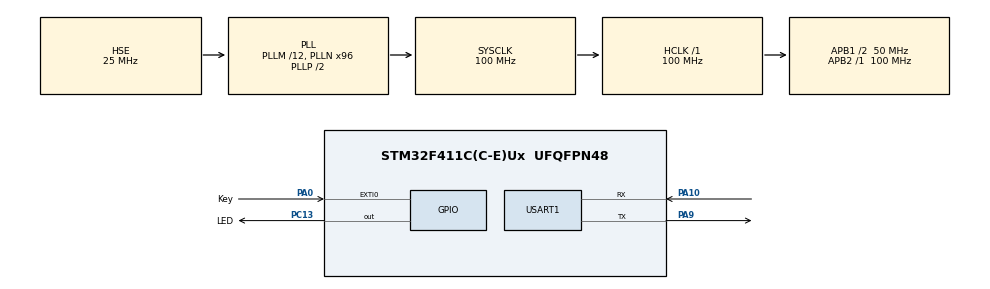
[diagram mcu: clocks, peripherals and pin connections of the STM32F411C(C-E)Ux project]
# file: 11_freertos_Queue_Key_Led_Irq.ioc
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FREERTOS.Tasks01=defaultTask,24,128,StartDefaultTask,Default,NULL,Dynamic,NULL,NULL
Mcu.Family=STM32F4
Mcu.Name=STM32F411C(C-E)Ux
Mcu.Package=UFQFPN48
NVIC.EXTI0_IRQn=true\:5\:0\:false\:false\:true\:true\:true\:true\:true
NVIC.PriorityGroup=NVIC_PRIORITYGROUP_4
NVIC.TIM1_UP_TIM10_IRQn=true\:15\:0\:false\:false\:true\:false\:false\:true\:true
NVIC.TimeBase=TIM1_UP_TIM10_IRQn
NVIC.TimeBaseIP=TIM1
PA0-WKUP.GPIO_Label=Key
PA0-WKUP.GPIO_ModeDefaultEXTI=GPIO_MODE_IT_FALLING
PA0-WKUP.GPIO_PuPd=GPIO_PULLUP
PA0-WKUP.Signal=GPXTI0
PA10.Mode=Asynchronous
PA10.Signal=USART1_RX
PA13.Mode=Serial_Wire
PA13.Signal=SYS_JTMS-SWDIO
PA14.Mode=Serial_Wire
PA14.Signal=SYS_JTCK-SWCLK
PA9.Mode=Asynchronous
PA9.Signal=USART1_TX
PC13-ANTI_TAMP.GPIO_Label=LED
PC13-ANTI_TAMP.PinState=GPIO_PIN_SET
PC13-ANTI_TAMP.Signal=GPIO_Output
PC14-OSC32_IN.Mode=LSE-External-Oscillator
PC14-OSC32_IN.Signal=RCC_OSC32_IN
PC15-OSC32_OUT.Mode=LSE-External-Oscillator
PC15-OSC32_OUT.Signal=RCC_OSC32_OUT
PH0\ -\ OSC_IN.Mode=HSE-External-Oscillator
PH0\ -\ OSC_IN.Signal=RCC_OSC_IN
PH1\ -\ OSC_OUT.Mode=HSE-External-Oscillator
PH1\ -\ OSC_OUT.Signal=RCC_OSC_OUT
ProjectManager.HeapSize=0x200
ProjectManager.StackSize=0x400
ProjectManager.TargetToolchain=MDK-ARM V5.32
RCC.48MHZClocksFreq_Value=50000000
RCC.AHBFreq_Value=100000000
RCC.APB1CLKDivider=RCC_HCLK_DIV2
RCC.APB1Freq_Value=50000000
RCC.APB1TimFreq_Value=100000000
RCC.APB2Freq_Value=100000000
RCC.APB2TimFreq_Value=100000000
RCC.CortexFreq_Value=100000000
RCC.HCLKFreq_Value=100000000
RCC.HSE_VALUE=25000000
RCC.HSI_VALUE=16000000
RCC.PLLM=12
RCC.PLLN=96
RCC.PLLSourceVirtual=RCC_PLLSOURCE_HSE
RCC.SYSCLKFreq_VALUE=100000000
RCC.SYSCLKSource=RCC_SYSCLKSOURCE_PLLCLK
RCC.VCOOutputFreq_Value=200000000
USART1.VirtualMode=VM_ASYNC
VP_FREERTOS_VS_CMSIS_V2.Mode=CMSIS_V2
VP_SYS_VS_tim1.Mode=TIM1
board=custom

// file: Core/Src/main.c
/* USER CODE BEGIN Header */
/**
  ******************************************************************************
  * @file           : main.c
  * @brief          : Main program body
  ******************************************************************************
  * @attention
  *
  * Copyright (c) 2025 STMicroelectronics.
  * All rights reserved.
  *
  * This software is licensed under terms that can be found in the LICENSE file
  * in the root directory of this software component.
  * If no LICENSE file comes with this software, it is provided AS-IS.
  *
  ******************************************************************************
  */
/* USER CODE END Header */
#include "main.h"
#include "cmsis_os.h"
#include "usart.h"
#include "gpio.h"

/* USER CODE BEGIN Includes */
#include <stdio.h>
/* USER CODE END Includes */

void SystemClock_Config(void);
void MX_FREERTOS_Init(void);

int main(void)
{

  /* MCU Configuration--------------------------------------------------------*/

  /* Reset of all peripherals, Initializes the Flash interface and the Systick. */
  HAL_Init();

  /* Configure the system clock */
  SystemClock_Config();

  /* Initialize all configured peripherals */
  MX_GPIO_Init();
  MX_USART1_UART_Init();

  /* Init scheduler */
  osKernelInitialize();  /* Call init function for freertos objects (in freertos.c) */
  MX_FREERTOS_Init();

  /* Start scheduler */
  osKernelStart();
  /* We should never get here as control is now taken by the scheduler */
  /* Infinite loop */
	while(1)
	{

	}
}

void SystemClock_Config(void)
{
  RCC_OscInitTypeDef RCC_OscInitStruct = {0};
  RCC_ClkInitTypeDef RCC_ClkInitStruct = {0};

  /** Configure the main internal regulator output voltage
  */
  __HAL_RCC_PWR_CLK_ENABLE();
  __HAL_PWR_VOLTAGESCALING_CONFIG(PWR_REGULATOR_VOLTAGE_SCALE1);

  /** Initializes the RCC Oscillators according to the specified parameters
  * in the RCC_OscInitTypeDef structure.
  */
  RCC_OscInitStruct.OscillatorType = RCC_OSCILLATORTYPE_HSE;
  RCC_OscInitStruct.HSEState = RCC_HSE_ON;
  RCC_OscInitStruct.PLL.PLLState = RCC_PLL_ON;
  RCC_OscInitStruct.PLL.PLLSource = RCC_PLLSOURCE_HSE;
  RCC_OscInitStruct.PLL.PLLM = 12;
  RCC_OscInitStruct.PLL.PLLN = 96;
  RCC_OscInitStruct.PLL.PLLP = RCC_PLLP_DIV2;
  RCC_OscInitStruct.PLL.PLLQ = 4;
  if (HAL_RCC_OscConfig(&RCC_OscInitStruct) != HAL_OK)
  {
    Error_Handler();
  }

  /** Initializes the CPU, AHB and APB buses clocks
  */
  RCC_ClkInitStruct.ClockType = RCC_CLOCKTYPE_HCLK|RCC_CLOCKTYPE_SYSCLK
                              |RCC_CLOCKTYPE_PCLK1|RCC_CLOCKTYPE_PCLK2;
  RCC_ClkInitStruct.SYSCLKSource = RCC_SYSCLKSOURCE_PLLCLK;
  RCC_ClkInitStruct.AHBCLKDivider = RCC_SYSCLK_DIV1;
  RCC_ClkInitStruct.APB1CLKDivider = RCC_HCLK_DIV2;
  RCC_ClkInitStruct.APB2CLKDivider = RCC_HCLK_DIV1;

  if (HAL_RCC_ClockConfig(&RCC_ClkInitStruct, FLASH_LATENCY_3) != HAL_OK)
  {
    Error_Handler();
  }
}

void HAL_TIM_PeriodElapsedCallback(TIM_HandleTypeDef *htim)
{
  if (htim->Instance == TIM1) {
    HAL_IncTick();
  }
}

void Error_Handler(void)
{
	__disable_irq();
	while(1)
	{
	}
}

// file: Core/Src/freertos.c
/* USER CODE BEGIN Header */
/**
  ******************************************************************************
  * File Name          : freertos.c
  * Description        : Code for freertos applications
  ******************************************************************************
  * @attention
  *
  * Copyright (c) 2025 STMicroelectronics.
  * All rights reserved.
  *
  * This software is licensed under terms that can be found in the LICENSE file
  * in the root directory of this software component.
  * If no LICENSE file comes with this software, it is provided AS-IS.
  *
  ******************************************************************************
  */
/* USER CODE END Header */

#include "FreeRTOS.h"
#include "task.h"
#include "main.h"
#include "cmsis_os.h"

/* USER CODE BEGIN Includes */
#include "bsp_key_irq.h"
#include "bsp_led.h"
#include "queue.h"
#include <stdio.h>
/* USER CODE END Includes */

/* Definitions for defaultTask */
osThreadId_t         defaultTaskHandle;
const osThreadAttr_t defaultTask_attributes = {
	.name = "defaultTask",
	.stack_size = 128 * 4,
	.priority = (osPriority_t)osPriorityNormal,
};

void StartDefaultTask(void *argument);

void MX_FREERTOS_Init(void); /* (MISRA C 2004 rule 8.1) */

void MX_FREERTOS_Init(void)
{

	/* Create the thread(s) */
	/* creation of defaultTask */
	defaultTaskHandle = osThreadNew(   StartDefaultTask,
											   NULL,
							   &defaultTask_attributes);

	/* USER CODE BEGIN RTOS_THREADS */
	/* add threads, ... */
	key_TaskHandle = osThreadNew(  key_task_func,
										NULL,
						   &key_Task_attributes);
	led_TaskHandle = osThreadNew(  led_task_func,
									    NULL,
						   &led_Task_attributes);
	/* USER CODE END RTOS_THREADS */

}

void StartDefaultTask(void *argument)
{
	/* USER CODE BEGIN StartDefaultTask */
	/******************* APP Task *************************/
	led_operation_t led_ops_event = LED_INITED_VALUE;
	key_press_status_t key_press_event = KEY_NOT_PRESSED;

	osDelay(500);
#if 0  //Test #1 error case fetch.
	key_press_event_t key_press_event =
	{
		.edge_type = KEY_EDGE_RISING,
		.trigger_tick = HAL_GetTick()
	};

	if(NULL == inter_key_queue)
	{
		printf("inter_key_queue not created"
		    		   " at [%d] tick.\r\n",
		    				 HAL_GetTick());
	}

	if(pdTRUE == xQueueSend(inter_key_queue, &key_press_event, 0))
	{
		printf("inter_key_result send RISING event successfully "
		    								"at [%d] tick! \r\n",
		    									  HAL_GetTick());
	}
#endif //Test #1 error case fetch.

#if 0  //Test #2 filtering fetch and short press.
	key_press_event_t key_press_event1 =
	{
		.edge_type = KEY_EDGE_FALLING,
		.trigger_tick = HAL_GetTick()
	};

	if(NULL == inter_key_queue)
	{
		printf("inter_key_queue not created"
		    		   " at [%d] tick.\r\n",
		    				 HAL_GetTick());
	}

	if(pdTRUE == xQueueSend(inter_key_queue, &key_press_event1, 0))
	{
		printf("inter_key_result send FALLING event successfully "
		    								 "at [%d] tick! \r\n",
		    									   HAL_GetTick());
	}

	osDelay(5);

	key_press_event_t key_press_event2 =
	{
		.edge_type = KEY_EDGE_RISING,
		.trigger_tick = HAL_GetTick()
	};

	if(NULL == inter_key_queue)
	{
		printf("inter_key_queue not created"
		    		   " at [%d] tick.\r\n",
		    				 HAL_GetTick());
	}

	if(pdTRUE == xQueueSend(inter_key_queue, &key_press_event2, 0))
	{
		printf("inter_key_result send RISING event successfully "
		    								"at [%d] tick! \r\n",
		    									  HAL_GetTick());
	}
#endif //Test #2 filtering fetch and short press.

#if 0  //Test #3 long press.
	key_press_event_t key_press_event1 =
	{
		.edge_type = KEY_EDGE_FALLING,
		.trigger_tick = HAL_GetTick()
	};

	if(NULL == inter_key_queue)
	{
		printf("inter_key_queue not created"
		    		   " at [%d] tick.\r\n",
		    				 HAL_GetTick());
	}

	if(pdTRUE == xQueueSend(inter_key_queue, &key_press_event1, 0))
	{
		printf("inter_key_result send FALLING event successfully "
		    								 "at [%d] tick! \r\n",
		    									   HAL_GetTick());
	}

	osDelay(600);

	key_press_event_t key_press_event2 =
	{
		.edge_type = KEY_EDGE_RISING,
		.trigger_tick = HAL_GetTick()
	};

	if(NULL == inter_key_queue)
	{
		printf("inter_key_queue not created"
		    		   " at [%d] tick.\r\n",
		    				 HAL_GetTick());
	}

	if(pdTRUE == xQueueSend(inter_key_queue, &key_press_event2, 0))
	{
		printf("inter_key_result send RISING event successfully "
		    								"at [%d] tick! \r\n",
		    									  HAL_GetTick());
	}
#endif //Test #3 long press.

	/* Infinite loop */
	for(;;)
	{
		printf("APP Task is living ...\r\n");
		if(pdTRUE == xQueueReceive(  key_queue,
						  &(key_press_event),
						  (TickType_t)0))
		{
			//1. if the key is pressed with short press.
			if(KEY_SHORT_PRESSED == key_press_event)
			{
				printf("Key Short Pressed! \r\n");
				//1.1 toggle the LED.
				led_ops_event = LED_TOGGLE;
				if(pdTRUE == xQueueSend(led_queue, &led_ops_event, 0))
				{
					printf("led_ops_event send toggle successfully "
					       "at [%d] tick! \r\n",
					       HAL_GetTick());
				}
				else
				{
					printf("led_ops_event send toggle failed "
					       "at [%d] tick! \r\n",
					       HAL_GetTick());
				}
			}
			//2. if the key is pressed with long press.
			else if(KEY_LONG_PRESSED == key_press_event)
			{
				printf("Key Long Pressed! \r\n");
				//2.1 LED blink for 3 times.
				led_ops_event = LED_BLINK_3_TIMES;
				if(pdTRUE == xQueueSend(led_queue, &led_ops_event, 0))
				{
					printf("led_ops_event send blink 3 times successfully "
					       "at [%d] tick! \r\n",
					       HAL_GetTick());
				}
				else
				{
					printf("led_ops_event send blink 3 times failed "
					       "at [%d] tick! \r\n",
					       HAL_GetTick());
				}

			}
			else
			{
				printf("Invalid key event fetched "
				       "at [%d] tick! \r\n",
				       HAL_GetTick());
			}
		}
		osDelay(100);
	}
	/* USER CODE END StartDefaultTask */
}
